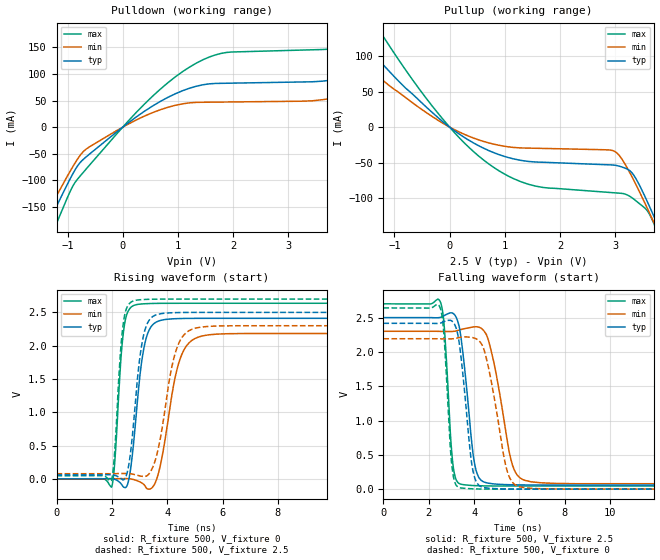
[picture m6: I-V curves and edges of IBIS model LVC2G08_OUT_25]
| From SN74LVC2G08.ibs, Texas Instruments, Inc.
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[Model]   LVC2G08_OUT_25
Model_type  Output
Vref =   0
Rref =   500
Cref =   30p
Vmeas =   1.25
| variable   typ   min   max
C_comp   9.05pF   6.50pF   13.91pF
| C_pullup   8.22pF   6.58pF   8.96pF
| C_pulldown   9.88pF   6.50pF   13.91pF
[Temperature Range]   40   100   -40
| Ambient temperature   25   85   -40
[Voltage range]   2.5   2.3   2.7
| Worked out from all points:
|   slope of the pulldown table from 0 to 0.375 V, typ, clamps not added: 13.1 ohm
|   slope of the pullup table from 0 to 0.375 V, typ, clamps not added: 19.1 ohm
|   rising waveform, R_fixture 500, V_fixture 0: 20-80 % time 370ps typ, 563ps min, 244ps max; typ from 0 V to 2.41 V
|   falling waveform, R_fixture 500, V_fixture 2.5: 20-80 % time 444ps typ, 698ps min, 279ps max; typ from 2.5 V to 0.06 V
|   rising waveform, R_fixture 500, V_fixture 2.5: 20-80 % time 363ps typ, 557ps min, 239ps max; typ from 0.06 V to 2.5 V
|   falling waveform, R_fixture 500, V_fixture 0: 20-80 % time 430ps typ, 689ps min, 271ps max; typ from 2.42 V to 0 V
[Pulldown]
| LVC2G08_OUT_25
|   Voltage   I(typ)   I(min)   I(max)
-5.5V     -1.065A    -962.2mA   -1.233A
-1.515V   -217.8mA   -190.9mA   -261.5mA
-1.145V   -137.3mA   -118.9mA   -167.6mA
-660mV    -55.79mA   -41.12mA   -78.48mA
535mV     39.4mA     27.09mA    57.66mA
1.455V    79.8mA     46.83mA    127mA
3.83V     89.86mA    55.41mA    148.1mA
5.34V     157.5mA    105.9mA    231.7mA
5.91V     188.7mA    52.63mA    283.1mA
6.525V    93.57mA    53.14mA    299.2mA
7.56V     94.12mA    54.12mA    161mA
11V       99.65mA    57.57mA    169.2mA
[Pullup]
| LVC2G08_OUT_25
|   Voltage   I(typ)   I(min)   I(max)
-5.5V     550.8mA    435.9mA    767.8mA
-2.33V    193.1mA    147.8mA    276mA
-1.875V   148.5mA    112.7mA    213.7mA
-1.315V   97.46mA    72.94mA    141.6mA
-185mV    11.74mA    8.463mA    17.18mA
705mV     -32.88mA   -22.14mA   -51.6mA
1.555V    -49.16mA   -29.78mA   -83.08mA
2.995V    -53.63mA   -34.3mA    -92.61mA
3.34V     -67.98mA   -75.27mA   -101.5mA
3.565V    -101.9mA   -111.4mA   -116.1mA
3.76V     -136.1mA   -144.4mA   -146.6mA
11V       -1.614A    -1.516A    -1.796A
[Ramp]
| LVC2G08_OUT_25
| variable   typ   min   max
dV/dt_r   1.53/3.92E-10   1.40/6.01E-10   1.66/2.57E-10
dV/dt_f   1.50/4.63E-10   1.37/7.27E-10   1.63/2.99E-10
R_load = 500
[Rising Waveform]
| LVC2G08_OUT_25
R_fixture =   500
C_fixture =   0
L_fixture =   0
V_fixture =   0
V_fixture_min = 0
V_fixture_max = 0
|   Time   V(typ)   V(min)   V(max)
0s        123.6pV    5.747nV    2.547nV
1.99ns    2.794mV    195.7uV    -125.3mV
2.435ns   -126mV     3.361mV    2.257V
2.645ns   62.51mV    566.8uV    2.555V
2.875ns   938.3mV    -22.15mV   2.615V
3.11ns    1.85V      -69.4mV    2.628V
3.395ns   2.271V     -150.2mV   2.633V
4.46ns    2.407V     1.795V     2.637V
5.265ns   2.41V      2.146V     2.637V
24.99ns   2.411V     2.183V     2.637V
[Falling Waveform]
| LVC2G08_OUT_25
R_fixture =   500
C_fixture =   0
L_fixture =   0
V_fixture =   2.5
V_fixture_min = 2.3
V_fixture_max = 2.7
|   Time   V(typ)   V(min)   V(max)
0s        2.5V       2.3V       2.7V
2.515ns   2.503V     2.298V     2.725V
2.69ns    2.531V     2.297V     2.337V
3.055ns   2.564V     2.298V     393.7mV
3.405ns   2.247V     2.324V     73.34mV
4ns       409.9mV    2.365V     52.08mV
4.495ns   97.43mV    2.277V     47.61mV
5.64ns    64.16mV    409.9mV    45.84mV
6.235ns   61.64mV    128.3mV    45.73mV
24.99ns   60.11mV    77.11mV    45.63mV
[Rising Waveform]
| LVC2G08_OUT_25
R_fixture =   500
C_fixture =   0
L_fixture =   0
V_fixture =   2.5
V_fixture_min = 2.3
V_fixture_max = 2.7
|   Time   V(typ)   V(min)   V(max)
0s        60.06mV    77.04mV    45.59mV
1.99ns    62.72mV    77.26mV    -19.74mV
2.4ns     -17.06mV   79.99mV    2.291V
2.61ns    206.8mV    78.51mV    2.621V
2.815ns   982.2mV    64.46mV    2.677V
3.06ns    1.964V     40.27mV    2.691V
3.335ns   2.374V     69.87mV    2.696V
4.315ns   2.496V     1.922V     2.7V
5.03ns    2.5V       2.264V     2.7V
24.99ns   2.5V       2.3V       2.7V
[Falling Waveform]
| LVC2G08_OUT_25
R_fixture =   500
C_fixture =   0
L_fixture =   0
V_fixture =   0
V_fixture_min = 0
V_fixture_max = 0
|   Time   V(typ)   V(min)   V(max)
0s        2.416V     2.191V     2.64V
2.495ns   2.418V     2.19V      2.647V
2.67ns    2.441V     2.189V     2.241V
3.01ns    2.451V     2.19V      371.7mV
3.32ns    2.178V     2.207V     24.99mV
3.91ns    337.9mV    2.209V     5.646mV
4.375ns   28.67mV    2.084V     1.819mV
5.42ns    3.086mV    308.8mV    246.9uV
5.99ns    1.139mV    35.73mV    130.5uV
24.99ns   41.55uV    57.81uV    31.66uV
